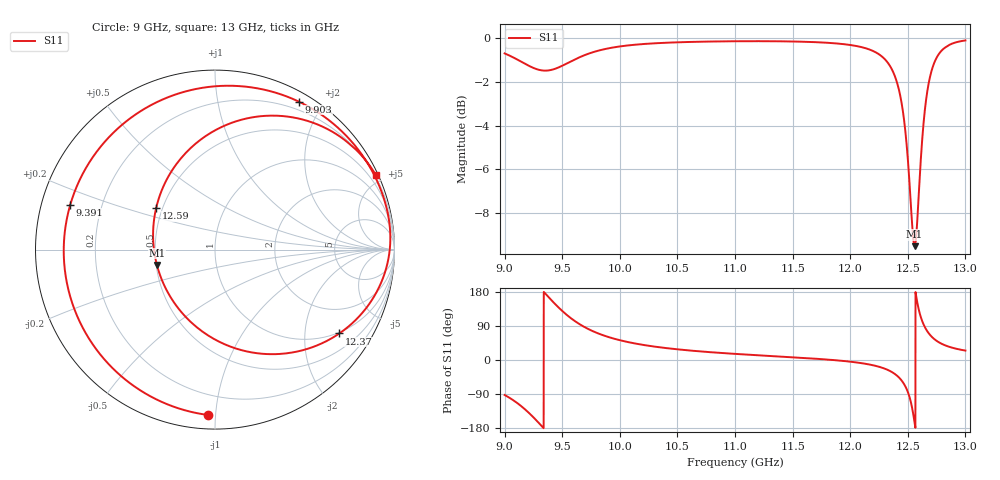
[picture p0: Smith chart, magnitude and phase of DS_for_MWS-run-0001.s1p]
! TOUCHSTONE file generated by CST DESIGN STUDIO
! Date and time: Tue Feb  4 18:17:49 2025
! Project name: C:\Work\MatlabApps\UnitCellOptimizationMatlab\CST\unitcell.cst
! Tree item: Tasks\Sweep1\SPara1\S-Parameters
! Header version: 2024
! Port assignment regex: !\s*Touchstone port\s*([0-9]+)\s*=\s*(CST MWS port|CST DES external port|CST DES block port)\s*(.+)\s* \(\"(.*)\"\)(\s*mode\s*([0-9]+))?.*
! Touchstone port assignment:
! Touchstone port 1 = CST DES external port 1 ("")
# GHz S MA R 50
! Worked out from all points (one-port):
!   4001 points, 9 GHz to 13 GHz, reference 50 ohm
!   lowest |S11| = -9.5 dB at 12.56 GHz (marker M1), VSWR 2.01, Z = 25.2 - j4.88 ohm
!   |S11| at or under -10 dB: nowhere
!   S11 on the Smith chart (normalised r, x): 9 GHz: 0.08, -0.96; 9.391 GHz: 0.09, +0.15; 9.903 GHz: 0.11, +1.71; 12.37 GHz: 0.97, -2.99; 12.59 GHz: 0.46, +0.26; 13 GHz: 0.14, +4.52
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9  0.9224 -92.3
9.098  0.8967 -111.0
9.185  0.8713 -132.3
9.295  0.8465 -165.5
9.391  0.8442 162.8
9.5  0.8644 129.5
9.575  0.8844 110.4
9.659  0.906 93.0
9.777  0.93 74.6
9.903  0.9475 60.5
10  0.9568 52.3
10.215  0.9695 39.2
10.5  0.9778 28.2
11  0.9833 16.2
11.5  0.982 7.2
12  0.9642 -4.4
12.24  0.9217 -17.0
12.374  0.8353 -34.0
12.439  0.7281 -51.3
12.5  0.5305 -84.1
12.529  0.407 -114.2
12.559  0.3348 -165.1
12.587  0.4018 144.6
12.633  0.6227 96.6
12.684  0.795 69.6
12.738  0.8885 53.2
12.802  0.941 41.6
13  0.9874 24.9
